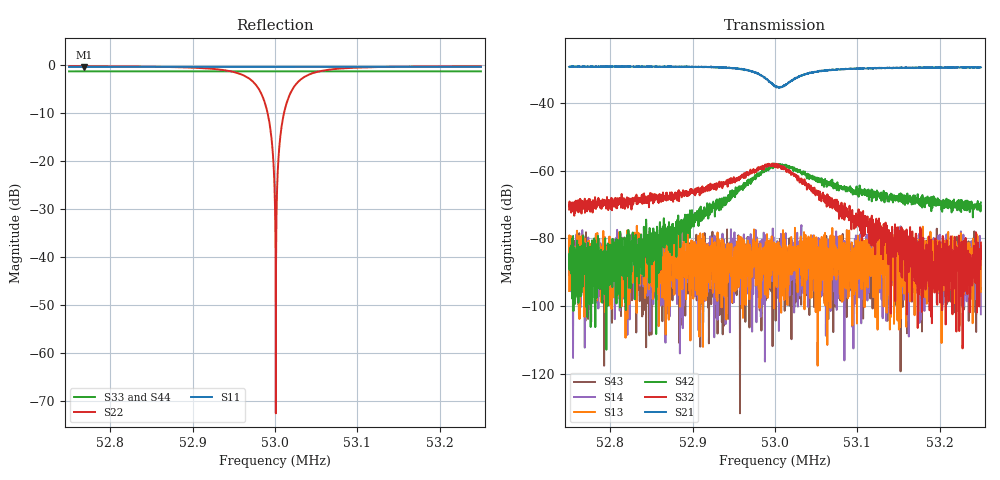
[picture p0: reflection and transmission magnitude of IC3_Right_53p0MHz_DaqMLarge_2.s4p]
#  HZ  S  DB  R  50.00
! Rohde & Schwarz Vector Network Analyzer
! Rohde-Schwarz,ZNB8-4Port,1311601044102961,2.82
! Created: UTC 2/12/2019, 2:07:20 PM
! freq[Hz]  db:S11  ang:S11  db:S12  ang:S12  db:S13  ang:S13  db:S14  ang:S14
!  db:S21  ang:S21  db:S22  ang:S22  db:S23  ang:S23  db:S24  ang:S24
!  db:S31  ang:S31  db:S32  ang:S32  db:S33  ang:S33  db:S34  ang:S34
!  db:S41  ang:S41  db:S42  ang:S42  db:S43  ang:S43  db:S44  ang:S44
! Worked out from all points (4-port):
!   2001 points, 52.75 MHz to 53.25 MHz, reference 50 ohm
!   strongest paths, dB at 52.75 MHz, 52.875 MHz, 53 MHz, 53.125 MHz, 53.25 MHz:
!     S21: -29.4, -29.3, -35.2, -29.7, -29.6
!     S32: -71.5, -67.0, -59.0, -79.7, -81.2
!     S42: -84.7, -77.2, -58.6, -66.4, -69.4
!     S13: -95.5, -86.6, -87.6, -81.1, -95.8
!     S14: -81.0, -82.5, -84.5, -90.9, -102.4
!     S43: -82.6, -96.0, -90.7, -92.5, -82.2
!   lowest |S11| = -0.5 dB at 52.7683 MHz (marker M1), VSWR 35.43, Z = 1.49 + j12.1 ohm
!   |S11| at or under -10 dB: nowhere
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5.275e7  -0.49 153.1  -29.27 132.0  -95.51 107.7  -81.04 39.1
         -29.36 132.2  -0.33 -68.4  -69.59 -96.0  -89.24 134.9
         -93.51 -94.4  -71.47 -95.6  -1.41 62.2  -86.22 -61.9
         -92.14 -46.5  -84.72 -85.3  -82.61 106.9  -1.44 68.8
5.276825e7  -0.49 152.7  -29.28 130.8  -84.09 96.2  -80.20 -157.5
            -29.26 131.0  -0.34 -69.9  -70.22 -94.3  -82.90 16.9
            -88.63 36.0  -69.68 -104.0  -1.41 62.0  -84.46 160.2
            -83.20 110.5  -87.14 -66.2  -85.03 -138.6  -1.43 68.6
5.296975e7  -0.47 148.6  -30.59 108.1  -89.96 -75.0  -85.65 -94.1
            -30.54 107.8  -3.05 -115.7  -60.56 -134.4  -63.74 38.9
            -83.27 -91.4  -60.29 -138.6  -1.40 59.5  -81.78 -127.4
            -89.27 21.8  -62.61 37.8  -86.44 -91.7  -1.42 66.1
5.3001e7  -0.47 147.9  -35.20 114.9  -83.52 75.5  -83.45 -62.0
          -35.17 114.1  -72.64 -110.8  -58.49 177.4  -58.71 -9.1
          -85.73 -73.1  -58.32 177.2  -1.40 59.2  -91.39 -57.7
          -83.73 172.8  -58.74 -9.5  -89.95 28.0  -1.43 65.7
5.30105e7  -0.47 147.7  -35.02 131.6  -93.30 -157.9  -90.00 -59.7
           -35.13 132.6  -10.45 -2.5  -58.57 158.0  -58.62 -25.7
           -84.53 -177.9  -59.21 158.4  -1.40 59.0  -92.67 141.4
           -91.90 162.7  -58.69 -24.9  -83.59 177.0  -1.43 65.7
5.303325e7  -0.47 147.2  -31.83 140.7  -87.96 -58.7  -86.58 77.6
            -31.74 140.9  -2.85 -33.7  -63.74 130.1  -60.29 -57.5
            -92.69 4.9  -63.13 127.6  -1.40 58.8  -89.10 -169.9
            -87.17 -120.0  -60.88 -56.4  -95.07 -118.3  -1.43 65.4
5.325e7  -0.47 142.7  -29.61 120.4  -95.77 33.6  -102.38 -169.9
         -29.55 120.6  -0.35 -80.3  -81.83 -167.0  -69.85 -99.3
         -90.49 -10.4  -81.22 -159.7  -1.40 56.1  -92.28 -65.1
         -92.55 119.9  -69.39 -100.8  -82.24 -179.0  -1.43 62.7
